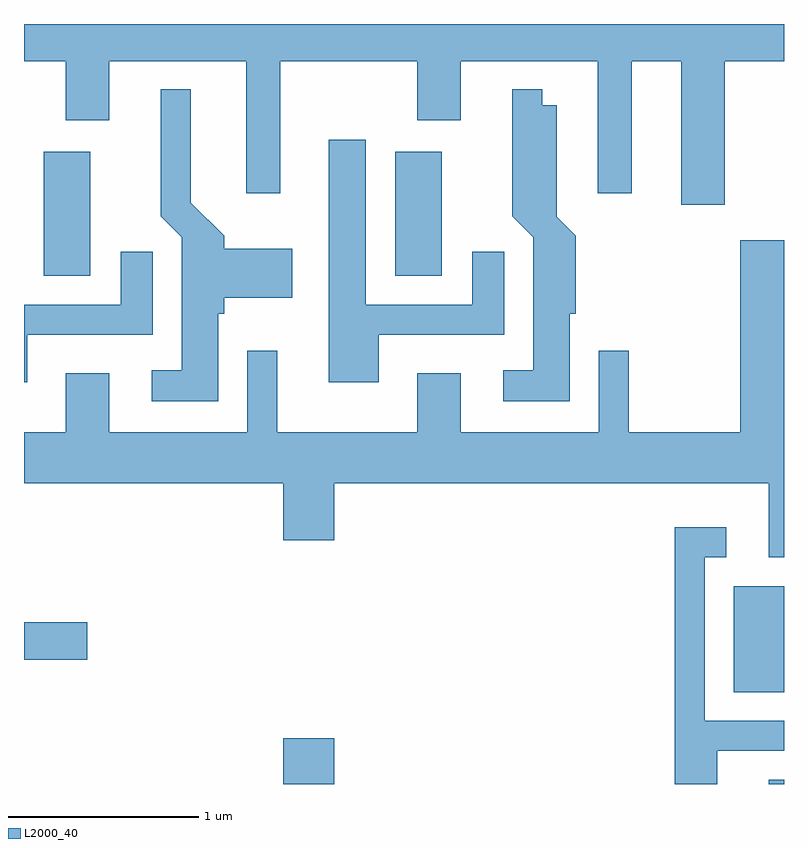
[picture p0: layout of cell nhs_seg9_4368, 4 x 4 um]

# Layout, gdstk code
import gdstk
lib = gdstk.Library(unit=1e-6, precision=1e-09)
def R(c, l, rs):  # rectangles x0, y0, x1, y1
    for r in rs: c.add(gdstk.rectangle(r[:2], r[2:], *l))
def P(c, l, *ps):  # polygons
    for p in ps: c.add(gdstk.Polygon(p, *l))
L2000_40 = (2000, 40)

nhs_seg9_4368 = lib.new_cell('nhs_seg9_4368')
R(nhs_seg9_4368, L2000_40, [(314.976,2012.432,315.244,2012.674), (317.531,2012.432,317.611,2012.454), (317.346,2012.916,317.611,2013.474), (313.611,2013.086,313.944,2013.284), (313.716,2015.106,313.959,2015.759), (315.566,2015.106,315.809,2015.759)])
P(nhs_seg9_4368, L2000_40, [(317.299,2016.236),(317.611,2016.236),(317.611,2016.432),(313.611,2016.432),(313.611,2016.236),(313.831,2016.236),(313.831,2015.926),(314.059,2015.926),(314.059,2016.236),(314.781,2016.236),(314.781,2015.541),(314.959,2015.541),(314.959,2016.236),(315.681,2016.236),(315.681,2015.926),(315.909,2015.926),(315.909,2016.236),(316.631,2016.236),(316.631,2015.541),(316.809,2015.541),(316.809,2016.236),(317.071,2016.236),(317.071,2015.481),(317.299,2015.481)],
  [(314.634,2014.906),(314.664,2014.906),(314.664,2014.991),(315.024,2014.991),(315.024,2015.249),(314.664,2015.249),(314.664,2015.317),(314.489,2015.492),(314.489,2016.088),(314.331,2016.088),(314.331,2015.419),(314.441,2015.309),(314.441,2014.609),(314.283,2014.609),(314.283,2014.446),(314.634,2014.446)],
  [(316.484,2014.906),(316.514,2014.906),(316.514,2015.317),(316.414,2015.417),(316.414,2016.004),(316.339,2016.004),(316.339,2016.088),(316.181,2016.088),(316.181,2015.419),(316.291,2015.309),(316.291,2014.609),(316.133,2014.609),(316.133,2014.446),(316.484,2014.446)],
  [(315.479,2014.796),(316.139,2014.796),(316.139,2015.233),(315.971,2015.233),(315.971,2014.954),(315.409,2014.954),(315.409,2015.824),(315.216,2015.824),(315.216,2014.546),(315.479,2014.546)],
  [(317.611,2015.294),(317.381,2015.294),(317.381,2014.284),(316.794,2014.284),(316.794,2014.713),(316.636,2014.713),(316.636,2014.284),(315.909,2014.284),(315.909,2014.594),(315.681,2014.594),(315.681,2014.284),(314.944,2014.284),(314.944,2014.713),(314.786,2014.713),(314.786,2014.284),(314.059,2014.284),(314.059,2014.594),(313.831,2014.594),(313.831,2014.284),(313.611,2014.284),(313.611,2014.016),(314.976,2014.016),(314.976,2013.716),(315.244,2013.716),(315.244,2014.016),(317.531,2014.016),(317.531,2013.626),(317.611,2013.626)],
  [(313.629,2014.796),(314.289,2014.796),(314.289,2015.233),(314.121,2015.233),(314.121,2014.954),(313.611,2014.954),(313.611,2014.546),(313.629,2014.546)],
  [(317.259,2012.606),(317.611,2012.606),(317.611,2012.764),(317.194,2012.764),(317.194,2013.626),(317.308,2013.626),(317.308,2013.784),(317.036,2013.784),(317.036,2012.432),(317.259,2012.432)])

lib.write_gds('nhs_seg9_4368.gds')
